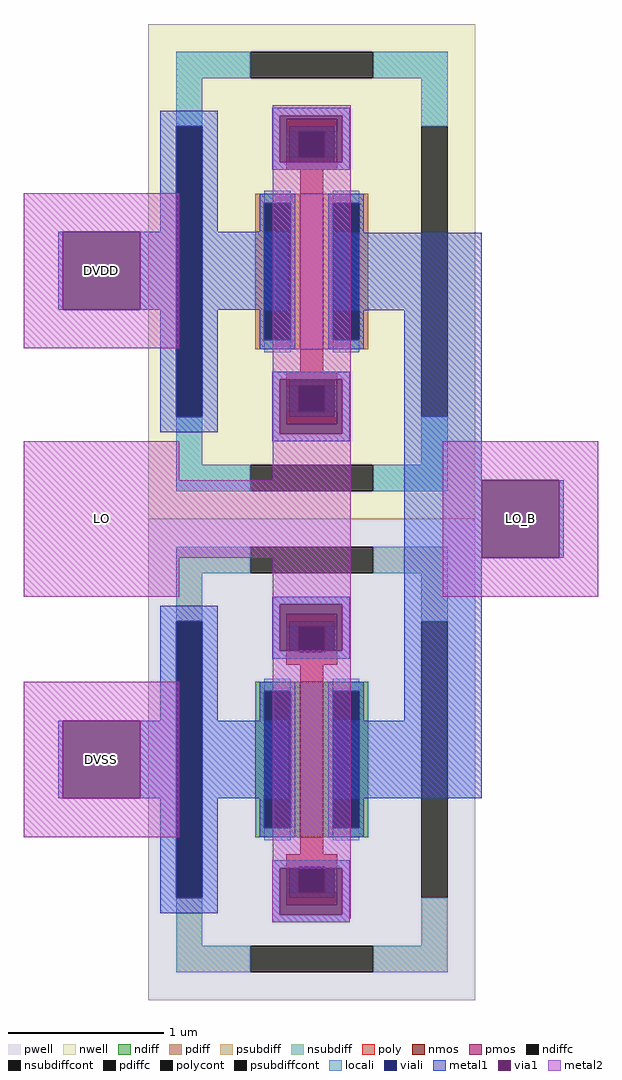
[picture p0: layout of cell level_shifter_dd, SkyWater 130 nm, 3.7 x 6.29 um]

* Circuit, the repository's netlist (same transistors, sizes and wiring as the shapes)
** sch_path: /foss/designs/hsxo-cpz1/xschem/level_shifter_dd.sch
.subckt level_shifter_dd DVDD DVSS LO LO_B
*.iopin DVDD
*.iopin DVSS
*.ipin LO
*.opin LO_B
XM18 LO_B LO DVSS DVSS sky130_fd_pr__nfet_01v8 L=0.15 W=1 nf=1 ad='int((nf+1)/2) * W/nf * 0.29' as='int((nf+2)/2) * W/nf * 0.29' pd='2*int((nf+1)/2) * (W/nf + 0.29)'
+ ps='2*int((nf+2)/2) * (W/nf + 0.29)' nrd='0.29 / W' nrs='0.29 / W' sa=0 sb=0 sd=0 mult=1 m=1
XM27 LO_B LO DVDD DVDD sky130_fd_pr__pfet_01v8 L=0.15 W=1 nf=1 ad='int((nf+1)/2) * W/nf * 0.29' as='int((nf+2)/2) * W/nf * 0.29' pd='2*int((nf+1)/2) * (W/nf + 0.29)'
+ ps='2*int((nf+2)/2) * (W/nf + 0.29)' nrd='0.29 / W' nrs='0.29 / W' sa=0 sb=0 sd=0 mult=1 m=1
.ends
.end

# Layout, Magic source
magic
tech sky130A
magscale 1 2
<< viali >>
rect 416 -1158 450 -784
rect 416 -1778 450 -1422
<< metal1 >>
rect 396 -784 470 -764
rect 396 -920 416 -784
rect 264 -1020 270 -920
rect 370 -1020 416 -920
rect 396 -1158 416 -1020
rect 450 -920 470 -784
rect 540 -770 640 -760
rect 540 -830 550 -770
rect 630 -830 640 -770
rect 540 -840 640 -830
rect 450 -921 540 -920
rect 450 -1020 560 -921
rect 450 -1158 470 -1020
rect 530 -1021 560 -1020
rect 620 -1021 810 -921
rect 396 -1178 470 -1158
rect 540 -1110 640 -1100
rect 540 -1180 550 -1110
rect 630 -1180 640 -1110
rect 540 -1190 640 -1180
rect 540 -1400 640 -1390
rect 396 -1422 470 -1402
rect 396 -1550 416 -1422
rect 264 -1650 270 -1550
rect 370 -1650 416 -1550
rect 396 -1778 416 -1650
rect 450 -1550 470 -1422
rect 540 -1460 550 -1400
rect 630 -1460 640 -1400
rect 540 -1470 640 -1460
rect 710 -1550 810 -1021
rect 910 -1340 916 -1240
rect 450 -1650 560 -1550
rect 620 -1650 810 -1550
rect 450 -1778 470 -1650
rect 396 -1798 470 -1778
rect 540 -1740 640 -1730
rect 540 -1800 550 -1740
rect 630 -1800 640 -1740
rect 540 -1810 640 -1800
<< via1 >>
rect 270 -1020 370 -920
rect 550 -830 630 -770
rect 550 -1180 630 -1110
rect 270 -1650 370 -1550
rect 550 -1460 630 -1400
rect 810 -1340 910 -1240
rect 550 -1800 630 -1740
<< metal2 >>
rect 541 -770 641 -757
rect 541 -830 550 -770
rect 630 -830 641 -770
rect 220 -920 420 -870
rect 220 -1020 270 -920
rect 370 -1020 420 -920
rect 220 -1070 420 -1020
rect 541 -1110 641 -830
rect 541 -1180 550 -1110
rect 630 -1180 641 -1110
rect 220 -1240 420 -1190
rect 541 -1240 641 -1180
rect 220 -1340 641 -1240
rect 220 -1390 420 -1340
rect 541 -1400 641 -1340
rect 760 -1240 960 -1190
rect 760 -1340 810 -1240
rect 910 -1340 960 -1240
rect 760 -1390 960 -1340
rect 541 -1460 550 -1400
rect 630 -1460 641 -1400
rect 220 -1550 420 -1500
rect 220 -1650 270 -1550
rect 370 -1650 420 -1550
rect 220 -1700 420 -1650
rect 541 -1730 641 -1460
rect 540 -1740 641 -1730
rect 540 -1800 550 -1740
rect 630 -1800 641 -1740
rect 540 -1805 641 -1800
rect 540 -1810 640 -1805
use sky130_fd_pr__nfet_01v8_648S5X  XM18 paramcells
transform 1 0 591 0 1 -1600
box -211 -310 211 310
use sky130_fd_pr__pfet_01v8_XGS3BL  XM27 paramcells
transform 1 0 591 0 1 -971
box -211 -319 211 319
<< labels >>
flabel metal2 760 -1390 960 -1190 0 FreeSans 256 0 0 0 LO_B
port 3 nsew
flabel metal2 220 -1390 420 -1190 0 FreeSans 256 0 0 0 LO
port 2 nsew
flabel metal2 220 -1700 420 -1500 0 FreeSans 256 0 0 0 DVSS
port 0 nsew
flabel metal2 220 -1070 420 -870 0 FreeSans 256 0 0 0 DVDD
port 1 nsew
<< end >>

# cell sky130_fd_pr__nfet_01v8_648S5X: kit device sky130_fd_pr__nfet_01v8, w 1.0 l 0.15 m 1 nf 1 diffcov 100 polycov 100 guard 1 glc 1 grc 1 gtc 1 gbc 1 tbcov 100 rlcov 100 topc 1 botc 1 poverlap 0 doverlap 1 lmin 0.15 wmin 0.42 compatible {sky130_fd_pr__nfet_01v8 sky130_fd_pr__nfet_01v8_lvt sky130_fd_bs_flash__special_sonosfet_star sky130_fd_pr__nfet_g5v0d10v5 sky130_fd_pr__nfet_05v0_nvt sky130_fd_pr__nfet_03v3_nvt} full_metal 1 viasrc 100 viadrn 100 viagate 100 viagb 0 viagr 0 viagl 0 viagt 0

# cell sky130_fd_pr__pfet_01v8_XGS3BL: kit device sky130_fd_pr__pfet_01v8, w 1.0 l 0.15 m 1 nf 1 diffcov 100 polycov 100 guard 1 glc 1 grc 1 gtc 1 gbc 1 tbcov 100 rlcov 100 topc 1 botc 1 poverlap 0 doverlap 1 lmin 0.15 wmin 0.42 compatible {sky130_fd_pr__pfet_01v8 sky130_fd_pr__pfet_01v8_lvt sky130_fd_pr__pfet_01v8_hvt sky130_fd_pr__pfet_g5v0d10v5} full_metal 1 viasrc 100 viadrn 100 viagate 100 viagb 0 viagr 0 viagl 0 viagt 0
